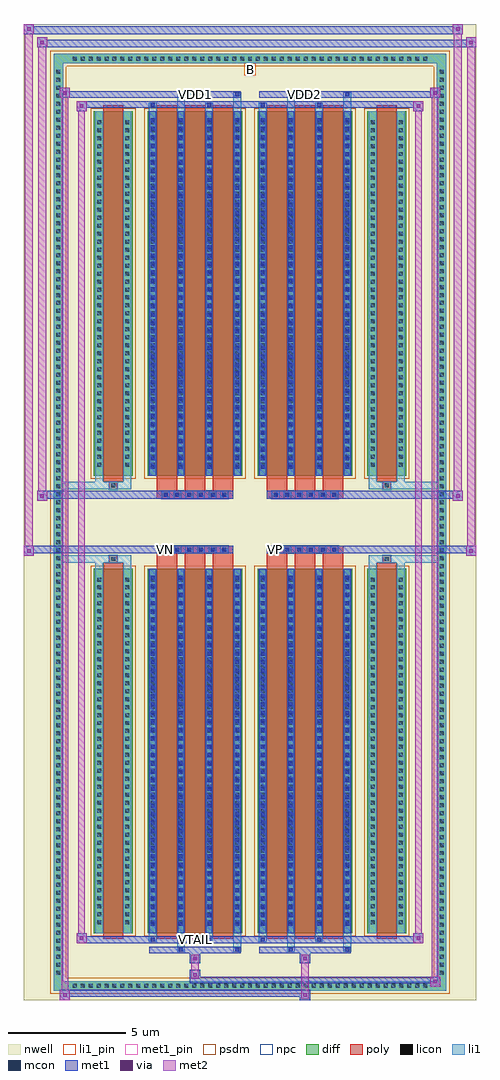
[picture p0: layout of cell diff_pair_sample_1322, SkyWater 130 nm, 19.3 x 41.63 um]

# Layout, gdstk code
import gdstk
lib = gdstk.Library(unit=1e-6, precision=5e-09)
def R(c, l, rs):  # rectangles x0, y0, x1, y1
    for r in rs: c.add(gdstk.rectangle(r[:2], r[2:], *l))
def A(c, l, x, y, w, h, nx, ny, dx, dy):  # array of equal rectangles
    R(c, l, [(x+i*dx, y+j*dy, x+i*dx+w, y+j*dy+h) for i in range(nx) for j in range(ny)])
def P(c, l, *ps):  # polygons
    for p in ps: c.add(gdstk.Polygon(p, *l))
nwell = (64, 20)
diff = (65, 20)
poly = (66, 20)
licon = (66, 44)
li1_pin = (67, 16)
li1 = (67, 20)
mcon = (67, 44)
met1_pin = (68, 16)
met1 = (68, 20)
via = (68, 44)
met2 = (69, 20)
psdm = (94, 20)
npc = (95, 20)

diff_pair_sample_1322 = lib.new_cell('diff_pair_sample_1322')
R(diff_pair_sample_1322, nwell, [(-9.65,-20.38,9.65,21.25), (-6.97,-18.57,-0.01,-0.805), (0.01,-18.57,6.97,-0.805), (-6.97,0.805,-0.01,18.57), (0.01,0.805,6.97,18.57)])
A(diff_pair_sample_1322, diff, -7.685, -19.98, 0.41, 0.41, 45, 2, 0.34, 39.55)
A(diff_pair_sample_1322, diff, -8.38, -19.415, 0.41, 0.41, 1, 114, 0, 0.34)
A(diff_pair_sample_1322, diff, 7.97, -19.415, 0.41, 0.41, 1, 114, 0, 0.34)
R(diff_pair_sample_1322, diff, [(-7.685,-19.98,7.685,-19.57), (-8.38,-19.415,-7.97,19.415), (7.97,-19.415,8.38,19.415), (-6.66,-17.525,-5.01,-1.985), (-4.37,-17.525,-0.32,-1.985), (0.32,-17.525,4.37,-1.985), (5.01,-17.525,6.66,-1.985), (-6.66,1.985,-5.01,17.525), (-4.37,1.985,-0.32,17.525), (0.32,1.985,4.37,17.525), (5.01,1.985,6.66,17.525), (-7.685,19.57,7.685,19.98)])
P(diff_pair_sample_1322, diff, [(8.38,19.98),(-8.38,19.98),(-8.38,-19.57),(-7.97,-19.57),(-7.97,19.57),(7.97,19.57),(7.97,-19.57),(-7.97,-19.57),(-8.38,-19.57),(-8.38,-19.98),(8.38,-19.98)])
A(diff_pair_sample_1322, poly, -3.98, -17.775, 0.87, 16.04, 3, 2, 1.2, 19.51)
A(diff_pair_sample_1322, poly, 0.71, -17.775, 0.87, 16.04, 3, 2, 1.2, 19.51)
A(diff_pair_sample_1322, poly, -3.98, -1.735, 0.87, 0.4, 3, 2, 1.2, 3.07)
A(diff_pair_sample_1322, poly, 0.71, -1.735, 0.87, 0.4, 3, 2, 1.2, 3.07)
A(diff_pair_sample_1322, poly, -3.76, -1.335, 0.33, 0.33, 6, 2, 0.5, 2.34)
A(diff_pair_sample_1322, poly, 0.93, -1.335, 0.33, 0.33, 6, 2, 0.5, 2.34)
R(diff_pair_sample_1322, poly, [(-6.27,-17.775,-5.4,-1.735), (5.4,-17.775,6.27,-1.735), (-6,-1.735,-5.67,-1.405), (-6,-1.735,-5.67,-1.405), (5.67,-1.735,6,-1.405), (5.67,-1.735,6,-1.405), (-3.98,-1.335,-0.71,-1.005), (0.71,-1.335,3.98,-1.005), (-3.98,1.005,-0.71,1.335), (0.71,1.005,3.98,1.335), (-6,1.405,-5.67,1.735), (-6,1.405,-5.67,1.735), (5.67,1.405,6,1.735), (5.67,1.405,6,1.735), (-6.27,1.735,-5.4,17.775), (5.4,1.735,6.27,17.775)])
A(diff_pair_sample_1322, licon, -7.565, -19.86, 0.17, 0.17, 45, 2, 0.34, 39.55)
A(diff_pair_sample_1322, licon, -8.26, -19.295, 0.17, 0.17, 1, 114, 0, 0.34)
A(diff_pair_sample_1322, licon, 8.09, -19.295, 0.17, 0.17, 1, 114, 0, 0.34)
A(diff_pair_sample_1322, licon, -6.52, -17.15, 0.17, 0.17, 1, 44, 0, 0.34)
A(diff_pair_sample_1322, licon, -5.32, -17.15, 0.17, 0.17, 1, 44, 0, 0.34)
A(diff_pair_sample_1322, licon, -4.23, -17.15, 0.17, 0.17, 4, 44, 1.2, 0.34)
A(diff_pair_sample_1322, licon, 0.46, -17.15, 0.17, 0.17, 4, 44, 1.2, 0.34)
A(diff_pair_sample_1322, licon, 5.15, -17.15, 0.17, 0.17, 1, 44, 0, 0.34)
A(diff_pair_sample_1322, licon, 6.35, -17.15, 0.17, 0.17, 1, 44, 0, 0.34)
A(diff_pair_sample_1322, licon, -3.68, -1.255, 0.17, 0.17, 6, 2, 0.5, 2.34)
A(diff_pair_sample_1322, licon, 1.01, -1.255, 0.17, 0.17, 6, 2, 0.5, 2.34)
A(diff_pair_sample_1322, licon, -6.52, 2.36, 0.17, 0.17, 1, 44, 0, 0.34)
A(diff_pair_sample_1322, licon, -5.32, 2.36, 0.17, 0.17, 1, 44, 0, 0.34)
A(diff_pair_sample_1322, licon, -4.23, 2.36, 0.17, 0.17, 4, 44, 1.2, 0.34)
A(diff_pair_sample_1322, licon, 0.46, 2.36, 0.17, 0.17, 4, 44, 1.2, 0.34)
A(diff_pair_sample_1322, licon, 5.15, 2.36, 0.17, 0.17, 1, 44, 0, 0.34)
A(diff_pair_sample_1322, licon, 6.35, 2.36, 0.17, 0.17, 1, 44, 0, 0.34)
R(diff_pair_sample_1322, licon, [(-5.92,-1.655,-5.75,-1.485), (5.75,-1.655,5.92,-1.485), (-5.92,1.485,-5.75,1.655), (5.75,1.485,5.92,1.655)])
R(diff_pair_sample_1322, li1_pin, [(-0.25,19.07,0.25,19.57)])
A(diff_pair_sample_1322, li1, -7.645, -19.94, 0.33, 0.33, 45, 2, 0.34, 39.55)
A(diff_pair_sample_1322, li1, -8.34, -19.375, 0.33, 0.33, 1, 114, 0, 0.34)
A(diff_pair_sample_1322, li1, 8.01, -19.375, 0.33, 0.33, 1, 114, 0, 0.34)
A(diff_pair_sample_1322, li1, -4.31, -17.525, 0.33, 15.54, 4, 2, 1.2, 19.51)
A(diff_pair_sample_1322, li1, 0.38, -17.525, 0.33, 15.54, 4, 2, 1.2, 19.51)
A(diff_pair_sample_1322, li1, -6.6, -17.23, 0.33, 0.33, 1, 44, 0, 0.34)
A(diff_pair_sample_1322, li1, -5.4, -17.23, 0.33, 0.33, 1, 44, 0, 0.34)
A(diff_pair_sample_1322, li1, -4.31, -17.23, 0.33, 0.33, 4, 44, 1.2, 0.34)
A(diff_pair_sample_1322, li1, 0.38, -17.23, 0.33, 0.33, 4, 44, 1.2, 0.34)
A(diff_pair_sample_1322, li1, 5.07, -17.23, 0.33, 0.33, 1, 44, 0, 0.34)
A(diff_pair_sample_1322, li1, 6.27, -17.23, 0.33, 0.33, 1, 44, 0, 0.34)
A(diff_pair_sample_1322, li1, -4.23, -17.22, 0.17, 0.17, 4, 42, 1.2, 0.36)
A(diff_pair_sample_1322, li1, -4.23, -17.22, 0.17, 14.93, 4, 2, 1.2, 19.51)
A(diff_pair_sample_1322, li1, 0.46, -17.22, 0.17, 0.17, 4, 42, 1.2, 0.36)
A(diff_pair_sample_1322, li1, 0.46, -17.22, 0.17, 14.93, 4, 2, 1.2, 19.51)
A(diff_pair_sample_1322, li1, -3.76, -1.335, 0.33, 0.33, 6, 2, 0.5, 2.34)
A(diff_pair_sample_1322, li1, 0.93, -1.335, 0.33, 0.33, 6, 2, 0.5, 2.34)
A(diff_pair_sample_1322, li1, -6.6, 2.28, 0.33, 0.33, 1, 44, 0, 0.34)
A(diff_pair_sample_1322, li1, -5.4, 2.28, 0.33, 0.33, 1, 44, 0, 0.34)
A(diff_pair_sample_1322, li1, -4.31, 2.28, 0.33, 0.33, 4, 44, 1.2, 0.34)
A(diff_pair_sample_1322, li1, 0.38, 2.28, 0.33, 0.33, 4, 44, 1.2, 0.34)
A(diff_pair_sample_1322, li1, 5.07, 2.28, 0.33, 0.33, 1, 44, 0, 0.34)
A(diff_pair_sample_1322, li1, 6.27, 2.28, 0.33, 0.33, 1, 44, 0, 0.34)
A(diff_pair_sample_1322, li1, -4.23, 2.29, 0.17, 0.17, 4, 42, 1.2, 0.36)
A(diff_pair_sample_1322, li1, 0.46, 2.29, 0.17, 0.17, 4, 42, 1.2, 0.36)
R(diff_pair_sample_1322, li1, [(-8.38,-19.98,-7.97,-19.57), (-8.38,-19.98,-7.97,-19.57), (-7.97,-19.98,7.97,-19.57), (7.97,-19.98,8.38,-19.57), (7.97,-19.98,8.38,-19.57), (-8.38,-19.57,-7.97,19.57), (7.97,-19.57,8.38,19.57), (-3.11,-18.33,-2.78,-17.525), (-3.03,-18.33,-2.86,-18.16), (-0.71,-18.33,-0.38,-17.525), (-0.63,-18.33,-0.46,-18.16), (1.58,-18.33,1.91,-17.525), (1.66,-18.33,1.83,-18.16), (3.98,-18.33,4.31,-17.525), (4.06,-18.33,4.23,-18.16), (-4.31,-17.9,-3.98,-17.525), (-4.23,-17.9,-4.06,-17.73), (-1.91,-17.9,-1.58,-17.525), (-1.83,-17.9,-1.66,-17.73), (0.38,-17.9,0.71,-17.525), (0.46,-17.9,0.63,-17.73), (2.78,-17.9,3.11,-17.525), (2.86,-17.9,3.03,-17.73), (-6.6,-17.525,-6.27,-1.985), (-5.4,-17.525,-5.07,-1.985), (5.07,-17.525,5.4,-1.985), (6.27,-17.525,6.6,-1.985), (-6.6,-1.985,-6.27,-1.405), (-5.4,-1.985,-5.07,-1.405), (5.07,-1.985,5.4,-1.405), (6.27,-1.985,6.6,-1.405), (-8.38,-1.735,-6,-1.405), (-6.6,-1.735,-6,-1.405), (-6,-1.735,-5.67,-1.405), (-5.67,-1.735,-5.07,-1.405), (5.07,-1.735,5.67,-1.405), (5.67,-1.735,6,-1.405), (5.67,-1.735,8.38,-1.405), (6,-1.735,6.6,-1.405), (-8.38,1.405,-6,1.735), (-6.6,1.405,-6,1.735), (-6.6,1.405,-6.27,1.985), (-6,1.405,-5.67,1.735), (-5.67,1.405,-5.07,1.735), (-5.4,1.405,-5.07,1.985), (5.07,1.405,5.67,1.735), (5.07,1.405,5.4,1.985), (5.67,1.405,6,1.735), (5.67,1.405,8.38,1.735), (6,1.405,6.6,1.735), (6.27,1.405,6.6,1.985), (-6.6,1.985,-6.27,17.525), (-5.4,1.985,-5.07,17.525), (5.07,1.985,5.4,17.525), (6.27,1.985,6.6,17.525), (-4.31,17.525,-3.98,17.9), (-3.11,17.525,-2.78,18.33), (-1.91,17.525,-1.58,17.9), (-0.71,17.525,-0.38,18.33), (0.38,17.525,0.71,17.9), (1.58,17.525,1.91,18.33), (2.78,17.525,3.11,17.9), (3.98,17.525,4.31,18.33), (-4.23,17.73,-4.06,17.9), (-1.83,17.73,-1.66,17.9), (0.46,17.73,0.63,17.9), (2.86,17.73,3.03,17.9), (-3.03,18.16,-2.86,18.33), (-0.63,18.16,-0.46,18.33), (1.66,18.16,1.83,18.33), (4.06,18.16,4.23,18.33), (-8.38,19.57,-7.97,19.98), (-8.38,19.57,-7.97,19.98), (-7.97,19.57,7.97,19.98), (7.97,19.57,8.38,19.98), (7.97,19.57,8.38,19.98)])
A(diff_pair_sample_1322, mcon, -4.23, -17.22, 0.17, 0.17, 4, 42, 1.2, 0.36)
A(diff_pair_sample_1322, mcon, 0.46, -17.22, 0.17, 0.17, 4, 42, 1.2, 0.36)
A(diff_pair_sample_1322, mcon, -3.68, -1.255, 0.17, 0.17, 6, 2, 0.5, 2.34)
A(diff_pair_sample_1322, mcon, 1.01, -1.255, 0.17, 0.17, 6, 2, 0.5, 2.34)
A(diff_pair_sample_1322, mcon, -4.23, 2.29, 0.17, 0.17, 4, 42, 1.2, 0.36)
A(diff_pair_sample_1322, mcon, 0.46, 2.29, 0.17, 0.17, 4, 42, 1.2, 0.36)
R(diff_pair_sample_1322, mcon, [(-3.03,-18.33,-2.86,-18.16), (-0.63,-18.33,-0.46,-18.16), (1.66,-18.33,1.83,-18.16), (4.06,-18.33,4.23,-18.16), (-4.23,-17.9,-4.06,-17.73), (-1.83,-17.9,-1.66,-17.73), (0.46,-17.9,0.63,-17.73), (2.86,-17.9,3.03,-17.73), (-4.23,17.73,-4.06,17.9), (-1.83,17.73,-1.66,17.9), (0.46,17.73,0.63,17.9), (2.86,17.73,3.03,17.9), (-3.03,18.16,-2.86,18.33), (-0.63,18.16,-0.46,18.33), (1.66,18.16,1.83,18.33), (4.06,18.16,4.23,18.33)])
R(diff_pair_sample_1322, met1_pin, [(-2.48,-17.94,-2.21,-17.67), (-3.73,-1.295,-3.46,-1.025), (0.96,-1.295,1.23,-1.025), (-2.48,18.12,-2.21,18.39), (2.21,18.12,2.48,18.39)])
A(diff_pair_sample_1322, met1, -4.29, -17.525, 0.29, 15.54, 4, 2, 1.2, 19.51)
A(diff_pair_sample_1322, met1, 0.4, -17.525, 0.29, 15.54, 4, 2, 1.2, 19.51)
A(diff_pair_sample_1322, met1, -4.29, -17.28, 0.29, 0.29, 4, 42, 1.2, 0.36)
A(diff_pair_sample_1322, met1, 0.4, -17.28, 0.29, 0.29, 4, 42, 1.2, 0.36)
A(diff_pair_sample_1322, met1, -3.74, -1.315, 0.29, 0.29, 6, 2, 0.5, 2.34)
A(diff_pair_sample_1322, met1, 0.95, -1.315, 0.29, 0.29, 6, 2, 0.5, 2.34)
A(diff_pair_sample_1322, met1, -4.29, 2.23, 0.29, 0.29, 4, 42, 1.2, 0.36)
A(diff_pair_sample_1322, met1, 0.4, 2.23, 0.29, 0.29, 4, 42, 1.2, 0.36)
R(diff_pair_sample_1322, met1, [(-8.11,-20.38,-7.68,-19.95), (2.13,-20.38,2.56,-19.95), (-8.11,-20.24,2.56,-19.95), (7.68,-19.81,8.11,-19.38), (-2.56,-19.67,8.11,-19.38), (-2.56,-19.53,-2.13,-19.1), (-2.56,-18.82,-2.13,-18.39), (2.13,-18.82,2.56,-18.39), (-4.29,-18.39,-0.4,-18.1), (-3.09,-18.39,-2.8,-18.1), (-0.69,-18.39,-0.4,-18.1), (0.4,-18.39,4.29,-18.1), (1.6,-18.39,1.89,-18.1), (4,-18.39,4.29,-18.1), (-7.4,-17.96,-6.97,-17.53), (-7.4,-17.96,-4.29,-17.67), (-4.29,-17.96,-4,-17.67), (-4.29,-17.96,-0.4,-17.67), (-1.89,-17.96,-1.6,-17.67), (-0.4,-17.96,0.4,-17.67), (0.4,-17.96,0.69,-17.67), (0.4,-17.96,4.29,-17.67), (2.8,-17.96,3.09,-17.67), (4.29,-17.96,7.4,-17.67), (6.97,-17.96,7.4,-17.53), (-9.65,-1.435,-9.22,-1.005), (9.22,-1.435,9.65,-1.005), (-9.65,-1.335,-0.71,-1.005), (-3.98,-1.335,-0.71,-1.005), (0.71,-1.335,3.98,-1.005), (0.71,-1.335,9.65,-1.005), (-9.08,0.905,-8.65,1.335), (8.65,0.905,9.08,1.335), (-9.08,1.005,-3.98,1.335), (-3.98,1.005,-0.71,1.335), (0.71,1.005,3.98,1.335), (3.98,1.005,9.08,1.335), (-7.4,17.53,-6.97,17.96), (6.97,17.53,7.4,17.96), (-7.4,17.67,-4.29,17.96), (-4.29,17.67,-4,17.96), (-4.29,17.67,-0.4,17.96), (-1.89,17.67,-1.6,17.96), (-0.4,17.67,0.4,17.96), (0.4,17.67,0.69,17.96), (0.4,17.67,4.29,17.96), (2.8,17.67,3.09,17.96), (4.29,17.67,7.4,17.96), (-8.11,18.1,-7.68,18.53), (-8.11,18.1,-4.29,18.39), (-4.29,18.1,-0.4,18.39), (-3.09,18.1,-2.8,18.39), (-0.69,18.1,-0.4,18.39), (0.4,18.1,4.29,18.39), (1.6,18.1,1.89,18.39), (4,18.1,4.29,18.39), (4.29,18.1,8.11,18.39), (7.68,18.1,8.11,18.53), (-9.08,20.25,-8.65,20.68), (-9.08,20.25,-6.97,20.58), (-6.97,20.25,6.97,20.58), (6.97,20.25,9.65,20.58), (9.22,20.25,9.65,20.68), (-9.65,20.82,-9.22,21.25), (-9.65,20.82,-6.97,21.15), (-6.97,20.82,6.97,21.15), (6.97,20.82,9.08,21.15), (8.65,20.82,9.08,21.25)])
R(diff_pair_sample_1322, via, [(-7.97,-20.24,-7.82,-20.09), (2.27,-20.24,2.42,-20.09), (7.82,-19.67,7.97,-19.52), (-2.42,-19.39,-2.27,-19.24), (-2.42,-18.68,-2.27,-18.53), (2.27,-18.68,2.42,-18.53), (-7.26,-17.82,-7.11,-17.67), (7.11,-17.82,7.26,-17.67), (-9.51,-1.295,-9.36,-1.145), (9.36,-1.295,9.51,-1.145), (-8.94,1.045,-8.79,1.195), (8.79,1.045,8.94,1.195), (-7.26,17.67,-7.11,17.82), (7.11,17.67,7.26,17.82), (-7.97,18.24,-7.82,18.39), (7.82,18.24,7.97,18.39), (-8.94,20.39,-8.79,20.54), (9.36,20.39,9.51,20.54), (-9.51,20.96,-9.36,21.11), (8.79,20.96,8.94,21.11)])
R(diff_pair_sample_1322, met2, [(-8.11,-20.38,-7.68,-19.95), (-8.04,-20.38,-7.75,18.53), (-7.75,-20.38,-7.68,-19.95), (-8.06,-20.33,-7.73,-20), (2.18,-20.33,2.51,-20), (2.18,-20,2.51,-18.77), (7.68,-19.81,8.11,-19.38), (7.75,-19.81,8.04,18.53), (8.04,-19.81,8.11,-19.38), (7.73,-19.76,8.06,-19.43), (-2.51,-19.48,-2.18,-19.15), (-2.51,-19.15,-2.18,-18.77), (-2.51,-18.77,-2.18,-18.44), (2.18,-18.77,2.51,-18.44), (-7.4,-17.96,-6.97,-17.53), (-7.33,-17.96,-7.04,17.96), (-7.04,-17.96,-6.97,-17.53), (6.97,-17.96,7.4,-17.53), (7.04,-17.96,7.33,17.96), (7.33,-17.96,7.4,-17.53), (-7.35,-17.91,-7.02,-17.58), (7.02,-17.91,7.35,-17.58), (-9.65,-1.435,-9.22,-1.005), (-9.6,-1.435,-9.27,21.25), (-9.27,-1.435,-9.22,-1.005), (9.22,-1.435,9.65,-1.005), (9.27,-1.435,9.6,20.68), (9.6,-1.435,9.65,-1.005), (-9.6,-1.385,-9.27,-1.055), (9.27,-1.385,9.6,-1.055), (-9.08,0.905,-8.65,1.335), (-9.03,0.905,-8.7,20.68), (-8.7,0.905,-8.65,1.335), (8.65,0.905,9.08,1.335), (8.7,0.905,9.03,21.25), (9.03,0.905,9.08,1.335), (-9.03,0.955,-8.7,1.285), (8.7,0.955,9.03,1.285), (-7.4,17.53,-6.97,17.96), (-7.04,17.53,-6.97,17.96), (6.97,17.53,7.4,17.96), (7.33,17.53,7.4,17.96), (-7.35,17.58,-7.02,17.91), (7.02,17.58,7.35,17.91), (-8.11,18.1,-7.68,18.53), (-7.75,18.1,-7.68,18.53), (7.68,18.1,8.11,18.53), (8.04,18.1,8.11,18.53), (-8.06,18.15,-7.73,18.48), (7.73,18.15,8.06,18.48), (-9.08,20.25,-8.65,20.68), (-8.7,20.25,-8.65,20.68), (9.22,20.25,9.65,20.68), (9.6,20.25,9.65,20.68), (-9.03,20.3,-8.7,20.63), (9.27,20.3,9.6,20.63), (-9.65,20.82,-9.22,21.25), (-9.27,20.82,-9.22,21.25), (8.65,20.82,9.08,21.25), (9.03,20.82,9.08,21.25), (-9.6,20.87,-9.27,21.2), (8.7,20.87,9.03,21.2)])
R(diff_pair_sample_1322, psdm, [(-6.79,-17.655,-4.88,-1.855), (-4.5,-17.655,-0.19,-1.855), (0.19,-17.655,4.5,-1.855), (4.88,-17.655,6.79,-1.855), (-6.79,1.855,-4.88,17.655), (-4.5,1.855,-0.19,17.655), (0.19,1.855,4.5,17.655), (4.88,1.855,6.79,17.655)])
P(diff_pair_sample_1322, psdm, [(8.51,20.11),(-8.51,20.11),(-8.51,-19.44),(-7.84,-19.44),(-7.84,19.44),(7.84,19.44),(7.84,-19.44),(-7.84,-19.44),(-8.51,-19.44),(-8.51,-20.11),(8.51,-20.11)])
A(diff_pair_sample_1322, npc, -3.78, -1.355, 0.37, 0.37, 6, 2, 0.5, 2.34)
A(diff_pair_sample_1322, npc, 0.91, -1.355, 0.37, 0.37, 6, 2, 0.5, 2.34)
R(diff_pair_sample_1322, npc, [(-6.02,-1.755,-5.65,-1.385), (5.65,-1.755,6.02,-1.385), (-3.78,-1.355,-2.91,-0.985), (-3.78,-1.355,-2.91,-0.985), (-3.28,-1.355,-2.41,-0.985), (-3.28,-1.355,-2.41,-0.985), (-2.78,-1.355,-1.91,-0.985), (-2.78,-1.355,-1.91,-0.985), (-2.28,-1.355,-1.41,-0.985), (-2.28,-1.355,-1.41,-0.985), (-1.78,-1.355,-0.91,-0.985), (-1.78,-1.355,-0.91,-0.985), (0.91,-1.355,1.78,-0.985), (0.91,-1.355,1.78,-0.985), (1.41,-1.355,2.28,-0.985), (1.41,-1.355,2.28,-0.985), (1.91,-1.355,2.78,-0.985), (1.91,-1.355,2.78,-0.985), (2.41,-1.355,3.28,-0.985), (2.41,-1.355,3.28,-0.985), (2.91,-1.355,3.78,-0.985), (2.91,-1.355,3.78,-0.985), (-3.78,0.985,-2.91,1.355), (-3.78,0.985,-2.91,1.355), (-3.28,0.985,-2.41,1.355), (-3.28,0.985,-2.41,1.355), (-2.78,0.985,-1.91,1.355), (-2.78,0.985,-1.91,1.355), (-2.28,0.985,-1.41,1.355), (-2.28,0.985,-1.41,1.355), (-1.78,0.985,-0.91,1.355), (-1.78,0.985,-0.91,1.355), (0.91,0.985,1.78,1.355), (0.91,0.985,1.78,1.355), (1.41,0.985,2.28,1.355), (1.41,0.985,2.28,1.355), (1.91,0.985,2.78,1.355), (1.91,0.985,2.78,1.355), (2.41,0.985,3.28,1.355), (2.41,0.985,3.28,1.355), (2.91,0.985,3.78,1.355), (2.91,0.985,3.78,1.355), (-6.02,1.385,-5.65,1.755), (5.65,1.385,6.02,1.755)])
diff_pair_sample_1322.add(gdstk.Label('VTAIL', (-2.345,-17.805), layer=68, texttype=5))
diff_pair_sample_1322.add(gdstk.Label('VN', (-3.595,-1.16), layer=68, texttype=5))
diff_pair_sample_1322.add(gdstk.Label('VP', (1.095,-1.16), layer=68, texttype=5))
diff_pair_sample_1322.add(gdstk.Label('B', (0,19.32), layer=67, texttype=5))
diff_pair_sample_1322.add(gdstk.Label('VDD2', (2.345,18.255), layer=68, texttype=5))
diff_pair_sample_1322.add(gdstk.Label('VDD1', (-2.345,18.255), layer=68, texttype=5))

lib.write_gds('diff_pair_sample_1322.gds')
